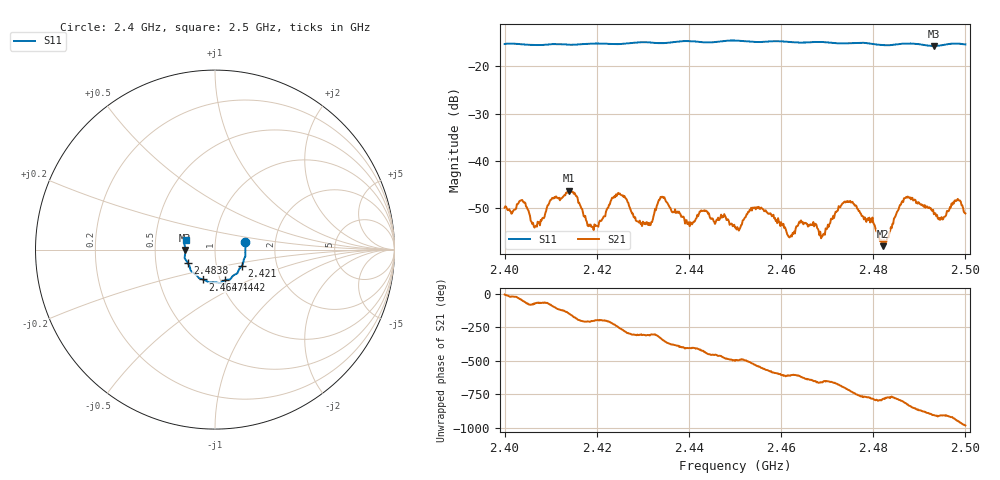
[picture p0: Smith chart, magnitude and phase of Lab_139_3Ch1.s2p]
# Hz S RI R 50
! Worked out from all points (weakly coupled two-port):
!   601 points, 2.4 GHz to 2.5 GHz, reference 50 ohm
!   highest |S21| = -46.41 dB at 2.414 GHz (marker M1); lowest = -58.2 dB at 2.4822 GHz (marker M2)
!   lowest |S11| = -15.6 dB at 2.4932 GHz (marker M3), VSWR 1.40, Z = 35.8 - j0.0968 ohm
!   |S11| at or under -10 dB: start of sweep to end of sweep
!   S12 and S22 are empty: the file has one direction only
!   S11 on the Smith chart (normalised r, x): 2.4 GHz: 1.40, +0.12; 2.421 GHz: 1.33, -0.24; 2.4442 GHz: 1.05, -0.37; 2.4647 GHz: 0.83, -0.29; 2.4838 GHz: 0.73, -0.11; 2.5 GHz: 0.72, +0.08
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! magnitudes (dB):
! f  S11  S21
! 2.4 GHz  -15.2  -50.0
! 2.4068 GHz  -15.4  -53.8
! 2.414 GHz  -15.4  -46.4
! 2.4167 GHz  -15.3  -50.2
! 2.421 GHz  -15.1  -52.8
! 2.4247 GHz  -15.3  -46.9
! 2.43 GHz  -14.8  -53.0
! 2.4333 GHz  -15.0  -48.8
! 2.4442 GHz  -14.9  -51.3
! 2.45 GHz  -14.5  -54.2
! 2.4543 GHz  -14.8  -49.9
! 2.4618 GHz  -14.8  -56.3
! 2.4647 GHz  -14.9  -53.0
! 2.4667 GHz  -14.8  -53.6
! 2.469 GHz  -14.8  -56.0
! 2.475 GHz  -15.1  -48.6
! 2.4822 GHz  -15.5  -58.2
! 2.4833 GHz  -15.5  -56.3
! 2.4838 GHz  -15.5  -54.1
! 2.4872 GHz  -15.1  -47.7
! 2.4932 GHz  -15.6  -51.4
! 2.5 GHz  -15.3  -51.2
